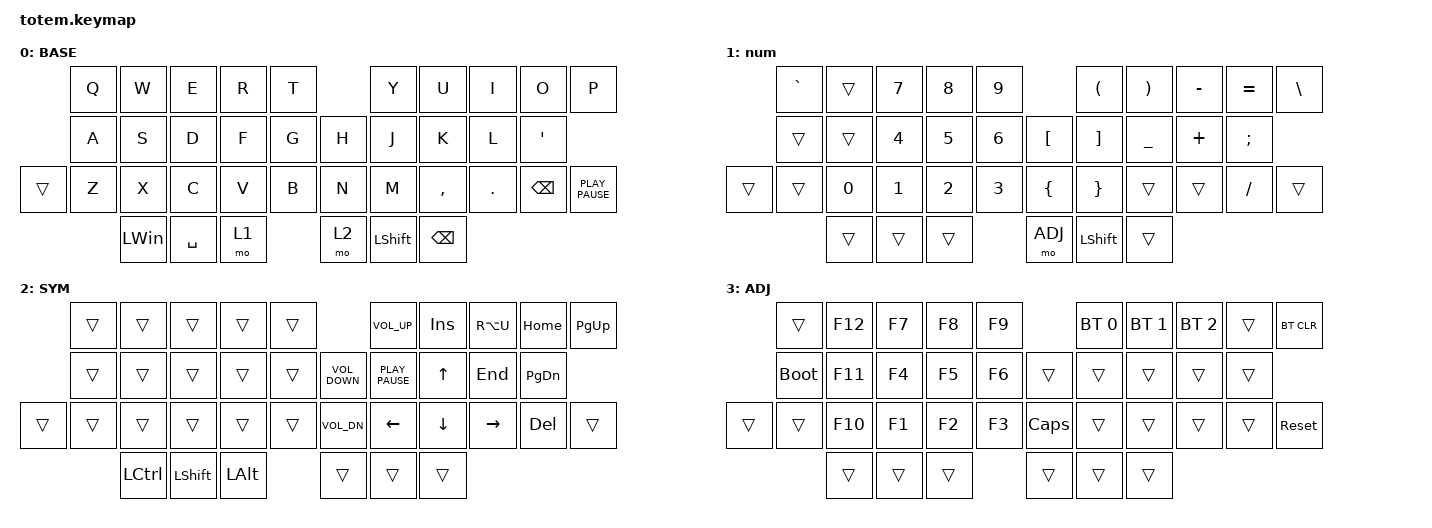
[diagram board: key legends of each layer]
//
//                                                        ▀▀▀▀▀     ▀▀▀▀▀          ▀▀█▀▀
//                                                        ▄▀▀▀▄  ▄  ▄▀▀▀▄  ▄  ▄▀▀▀▄  █  ▄▀▀▀▄
//                                                        █   █  █  █   █  █  █   █  █  █   █
//                                                         ▀▀▀   █   ▀▀▀   █   ▀▀▀   ▀   ▀▀▀
//                                                               █      ▄▄▄█▄▄▄    █   █  
//                                                               ▀      █  █  █     █▄█
//                                                             ▀▀▀▀▀    █  █  █      ▀
//                                                                      ▀  ▀  ▀
//
// ▄▄▄▄▄▄▄▄▄▄▄▄▄▄▄▄▄▄▄▄▄▄▄▄▄▄▄▄▄▄▄▄▄▄▄▄▄▄▄▄▄▄▄▄▄▄▄▄▄▄▄▄▄▄▄▄▄▄▄▄▄▄▄▄▄▄▄▄▄▄▄▄▄▄▄▄▄▄▄▄▄▄▄▄▄▄▄▄▄▄▄▄▄▄▄▄▄▄▄▄▄▄▄▄▄▄▄▄▄▄▄▄▄▄▄▄▄▄▄▄▄▄▄▄▄▄▄▄▄▄▄▄▄▄▄▄▄▄▄▄▄▄▄▄▄▄▄▄▄

#include <behaviors.dtsi>
#include <dt-bindings/zmk/bt.h>
#include <dt-bindings/zmk/keys.h>

#define BASE 0
#define NAV  1
#define SYM  2
#define ADJ  3

&mt {
    quick-tap-ms = <100>;
    global-quick-tap;
    flavor = "tap-preferred";
    tapping-term-ms = <170>;
};

/ {
    combos {
        compatible = "zmk,combos";

        combo_esc {
            timeout-ms = <50>;
            key-positions = <0 1>;
            bindings = <&kp ESC>;
        };

        combo_enter {
            bindings = <&kp ENTER>;
            key-positions = <28 29>;
        };

        combo_osk_tab {
            bindings = <&kp TAB>;
            key-positions = <21 22>;
        };
    };

    macros {
        gif: gif {
            label = "giphy";
            compatible = "zmk,behavior-macro";
            #binding-cells = <0>;
            bindings =
                <&macro_press>,
                <&kp LSHFT>,
                <&macro_tap>,
                <&kp N2>,
                <&macro_release>,
                <&kp LSHFT>,
                <&macro_tap>,
                <&kp G &kp I &kp F>;
        };
    };

    behaviors {
        ctrl_j: ctrl_j {
            compatible = "zmk,behavior-mod-morph";
            label = "CTRL_J";
            bindings = <&kp J>;
            #binding-cells = <0>;
            mods = <(MOD_LCTL)>;
        };
        gui_s: gui_s {
            compatible = "zmk,behavior-mod-morph";
            label = "GUI_S";
            bindings = <&kp S>;
            #binding-cells = <0>;
            mods = <(MOD_LGUI)>;
        };
        ctrl_f: ctrl_f {
            compatible = "zmk,behavior-mod-morph";
            label = "CTRL_F";
            bindings = <&kp F>;
            #binding-cells = <0>;
            mods = <(MOD_LCTL)>;
        };
        alt_d: alt_d {
            compatible = "zmk,behavior-mod-morph";
            label = "ALT_D";
            bindings = <&kp D>;
            #binding-cells = <0>;
            mods = <(MOD_LALT)>;
        };
        alt_k: alt_k {
            compatible = "zmk,behavior-mod-morph";
            label = "ALT_K";
            bindings = <&kp K>;
            #binding-cells = <0>;
            mods = <(MOD_LALT)>;
        };
    };

    keymap {
        compatible = "zmk,keymap";

        // ▄▄▄▄▄▄▄▄▄▄▄▄▄▄▄▄▄▄▄▄▄▄▄▄▄▄▄▄▄▄▄▄▄▄▄▄▄▄▄▄▄▄▄▄▄▄▄▄▄▄▄▄▄▄▄▄▄▄▄▄▄▄▄▄▄▄▄▄▄▄▄▄▄▄▄▄▄▄▄▄▄▄▄▄▄▄▄▄▄▄▄▄▄▄▄▄▄▄▄▄▄▄▄▄▄▄▄▄▄▄▄▄▄▄▄▄▄▄▄▄▄▄▄▄▄▄▄▄▄▄▄▄▄▄▄▄▄▄▄▄▄▄▄▄▄▄▄▄▄

        base_layer {
            // ┏━━━━━━━━━━━━━━━━━━━━━━━━━━━━━━━━━━━━━━━┓

            label = "BASE";

            // ┗━━━━━━━━━━━━━━━━━━━━━━━━━━━━━━━━━━━━━━━┛
            //             ┏━━━━━━━━━━━┳━━━━━━━━━━━┳━━━━━━━━━━━┳━━━━━━━━━━━┳━━━━━━━━━━━┓   ┏━━━━━━━━━━━┳━━━━━━━━━━━┳━━━━━━━━━━━┳━━━━━━━━━━━┳━━━━━━━━━━━┓
            //             ┃     Q     ┃     W     ┃     F     ┃     P     ┃     G     ┃   ┃     J     ┃     L     ┃     U     ┃     Y     ┃     ;     ┃
            //             ┣━━━━━━━━━━━╋━━━━━━━━━━━╋━━━━━━━━━━━╋━━━━━━━━━━━╋━━━━━━━━━━━┫   ┣━━━━━━━━━━━╋━━━━━━━━━━━╋━━━━━━━━━━━╋━━━━━━━━━━━╋━━━━━━━━━━━┫
            //             ┃     A     ┃     R     ┃     S     ┃     T     ┃     D     ┃   ┃     H     ┃     N     ┃     E     ┃     I     ┃     O     ┃
            // ┏━━━━━━━━━━━╋━━━━━━━━━━━╋━━━━━━━━━━━╋━━━━━━━━━━━╋━━━━━━━━━━━╋━━━━━━━━━━━┫   ┣━━━━━━━━━━━╋━━━━━━━━━━━╋━━━━━━━━━━━╋━━━━━━━━━━━╋━━━━━━━━━━━╋━━━━━━━━━━━┓
            // ┃     Q     ┃     Z     ┃     X     ┃     C     ┃     V     ┃     B     ┃   ┃     K     ┃     M     ┃     ,     ┃     .     ┃     /     ┃     \     ┃
            // ┗━━━━━━━━━━━┻━━━━━━━━━━━┻━━━━━━━━━━━╋━━━━━━━━━━━╋━━━━━━━━━━━╋━━━━━━━━━━━┫   ┣━━━━━━━━━━━╋━━━━━━━━━━━╋━━━━━━━━━━━╋━━━━━━━━━━━┻━━━━━━━━━━━┻━━━━━━━━━━━┛
            //                                     ┃    DEL    ┃    TAB    ┃    SPC    ┃   ┃   ENTER   ┃           ┃   BSPC    ┃
            //                                     ┗━━━━━━━━━━━┻━━━━━━━━━━━┻━━━━━━━━━━━┛   ┗━━━━━━━━━━━┻━━━━━━━━━━━┻━━━━━━━━━━━┛

            bindings = <
        &kp Q  &kp W         &kp E      &kp R  &kp T  &kp Y           &kp U          &kp I    &kp O          &kp P
        &kp A  &kp S         &kp D      &kp F  &kp G  &kp H           &kp J          &kp K    &kp L        &kp SQT
&trans  &kp Z  &kp X         &kp C      &kp V  &kp B  &kp N           &kp M      &kp COMMA  &kp DOT  &kp BACKSPACE  &kp K_PLAY_PAUSE
                      &kp LEFT_WIN  &kp SPACE  &mo 1  &mo 2  &kp LEFT_SHIFT  &kp BACKSPACE
            >;
        };

        // ▄▄▄▄▄▄▄▄▄▄▄▄▄▄▄▄▄▄▄▄▄▄▄▄▄▄▄▄▄▄▄▄▄▄▄▄▄▄▄▄▄▄▄▄▄▄▄▄▄▄▄▄▄▄▄▄▄▄▄▄▄▄▄▄▄▄▄▄▄▄▄▄▄▄▄▄▄▄▄▄▄▄▄▄▄▄▄▄▄▄▄▄▄▄▄▄▄▄▄▄▄▄▄▄▄▄▄▄▄▄▄▄▄▄▄▄▄▄▄▄▄▄▄▄▄▄▄▄▄▄▄▄▄▄▄▄▄▄▄▄▄▄▄▄▄▄▄▄▄

        num_layer {
            // ┏━━━━━━━━━━━━━━━━━━━━━━━━━━━━━━━━━━━━━━━┓

            label = "num";

            // ┗━━━━━━━━━━━━━━━━━━━━━━━━━━━━━━━━━━━━━━━┛
            //             ┏━━━━━━━━━━━┳━━━━━━━━━━━┳━━━━━━━━━━━┳━━━━━━━━━━━┳━━━━━━━━━━━┓   ┏━━━━━━━━━━━┳━━━━━━━━━━━┳━━━━━━━━━━━┳━━━━━━━━━━━┳━━━━━━━━━━━┓
            //             ┃           ┃           ┃     UP    ┃           ┃     {     ┃   ┃     }     ┃     7     ┃     8     ┃     9     ┃     +     ┃
            //             ┣━━━━━━━━━━━╋━━━━━━━━━━━╋━━━━━━━━━━━╋━━━━━━━━━━━╋━━━━━━━━━━━┫   ┣━━━━━━━━━━━╋━━━━━━━━━━━╋━━━━━━━━━━━╋━━━━━━━━━━━╋━━━━━━━━━━━┫
            //             ┃   SHIFT   ┃   LEFT    ┃    DOWN   ┃   RIGHT   ┃     [     ┃   ┃     ]     ┃     4     ┃     5     ┃     6     ┃     -     ┃
            // ┏━━━━━━━━━━━╋━━━━━━━━━━━╋━━━━━━━━━━━╋━━━━━━━━━━━╋━━━━━━━━━━━╋━━━━━━━━━━━┫   ┣━━━━━━━━━━━╋━━━━━━━━━━━╋━━━━━━━━━━━╋━━━━━━━━━━━╋━━━━━━━━━━━╋━━━━━━━━━━━┓
            // ┃           ┃           ┃   P UP    ┃  C LOCK   ┃  P DOWN   ┃     (     ┃   ┃     )     ┃     1     ┃     2     ┃     3     ┃     *     ┃           ┃
            // ┗━━━━━━━━━━━┻━━━━━━━━━━━┻━━━━━━━━━━━╋━━━━━━━━━━━╋━━━━━━━━━━━╋━━━━━━━━━━━┫   ┣━━━━━━━━━━━╋━━━━━━━━━━━╋━━━━━━━━━━━╋━━━━━━━━━━━┻━━━━━━━━━━━┻━━━━━━━━━━━┛
            //                                     ┃           ┃    TAB    ┃    SPC    ┃   ┃    DEL    ┃     0     ┃           ┃
            //                                     ┗━━━━━━━━━━━┻━━━━━━━━━━━┻━━━━━━━━━━━┛   ┗━━━━━━━━━━━┻━━━━━━━━━━━┻━━━━━━━━━━━┛

            bindings = <
        &kp GRAVE  &trans  &kp N7  &kp N8  &kp N9  &kp LEFT_PARENTHESIS  &kp RIGHT_PARENTHESIS       &kp MINUS  &kp EQUAL   &kp BSLH
           &trans  &trans  &kp N4  &kp N5  &kp N6              &kp LBKT      &kp RIGHT_BRACKET  &kp UNDERSCORE   &kp PLUS   &kp SEMI
&trans     &trans  &kp N0  &kp N1  &kp N2  &kp N3        &kp LEFT_BRACE        &kp RIGHT_BRACE          &trans     &trans  &kp SLASH  &trans
                           &trans  &trans  &trans               &mo ADJ         &kp LEFT_SHIFT          &trans
            >;
        };

        // ▄▄▄▄▄▄▄▄▄▄▄▄▄▄▄▄▄▄▄▄▄▄▄▄▄▄▄▄▄▄▄▄▄▄▄▄▄▄▄▄▄▄▄▄▄▄▄▄▄▄▄▄▄▄▄▄▄▄▄▄▄▄▄▄▄▄▄▄▄▄▄▄▄▄▄▄▄▄▄▄▄▄▄▄▄▄▄▄▄▄▄▄▄▄▄▄▄▄▄▄▄▄▄▄▄▄▄▄▄▄▄▄▄▄▄▄▄▄▄▄▄▄▄▄▄▄▄▄▄▄▄▄▄▄▄▄▄▄▄▄▄▄▄▄▄▄▄▄▄

        sim_layer {
            // ┏━━━━━━━━━━━━━━━━━━━━━━━━━━━━━━━━━━━━━━━┓

            label = "SYM";

            // ┗━━━━━━━━━━━━━━━━━━━━━━━━━━━━━━━━━━━━━━━┛
            //             ┏━━━━━━━━━━━┳━━━━━━━━━━━┳━━━━━━━━━━━┳━━━━━━━━━━━┳━━━━━━━━━━━┓   ┏━━━━━━━━━━━┳━━━━━━━━━━━┳━━━━━━━━━━━┳━━━━━━━━━━━┳━━━━━━━━━━━┓
            //             ┃     !     ┃     @     ┃     #     ┃     $     ┃     %     ┃   ┃     ˆ     ┃     &     ┃     Ü     ┃     '     ┃     "     ┃
            //             ┣━━━━━━━━━━━╋━━━━━━━━━━━╋━━━━━━━━━━━╋━━━━━━━━━━━╋━━━━━━━━━━━┫   ┣━━━━━━━━━━━╋━━━━━━━━━━━╋━━━━━━━━━━━╋━━━━━━━━━━━╋━━━━━━━━━━━┫
            //             ┃     Ä     ┃           ┃    SZ     ┃           ┃           ┃   ┃   MUTE    ┃   YEN     ┃   EURO    ┃  POUND    ┃     Ö     ┃
            // ┏━━━━━━━━━━━╋━━━━━━━━━━━╋━━━━━━━━━━━╋━━━━━━━━━━━╋━━━━━━━━━━━╋━━━━━━━━━━━┫   ┣━━━━━━━━━━━╋━━━━━━━━━━━╋━━━━━━━━━━━╋━━━━━━━━━━━╋━━━━━━━━━━━╋━━━━━━━━━━━┓
            // ┃           ┃  EMAIL1   ┃  EMAIL2   ┃           ┃           ┃           ┃   ┃   VOL-    ┃   VOL+    ┃   LAST    ┃   NEXT    ┃     \     ┃           ┃
            // ┗━━━━━━━━━━━┻━━━━━━━━━━━┻━━━━━━━━━━━╋━━━━━━━━━━━╋━━━━━━━━━━━╋━━━━━━━━━━━┫   ┣━━━━━━━━━━━╋━━━━━━━━━━━╋━━━━━━━━━━━╋━━━━━━━━━━━┻━━━━━━━━━━━┻━━━━━━━━━━━┛
            //                                     ┃           ┃    GIF    ┃    ADJ    ┃   ┃           ┃           ┃           ┃
            //                                     ┗━━━━━━━━━━━┻━━━━━━━━━━━┻━━━━━━━━━━━┛   ┗━━━━━━━━━━━┻━━━━━━━━━━━┻━━━━━━━━━━━┛

            bindings = <
        &trans  &trans     &trans          &trans        &trans    &kp C_VOLUME_UP        &kp INSERT     &kp RA(U)   &kp HOME      &kp PG_UP
        &trans  &trans     &trans          &trans        &trans  &kp C_VOLUME_DOWN  &kp K_PLAY_PAUSE  &kp UP_ARROW    &kp END  &kp PAGE_DOWN
&trans  &trans  &trans     &trans          &trans        &trans       &kp C_VOL_DN    &kp LEFT_ARROW      &kp DOWN  &kp RIGHT     &kp DELETE  &trans
                        &kp LCTRL  &kp LEFT_SHIFT  &kp LEFT_ALT             &trans            &trans        &trans
            >;
        };

        // ▄▄▄▄▄▄▄▄▄▄▄▄▄▄▄▄▄▄▄▄▄▄▄▄▄▄▄▄▄▄▄▄▄▄▄▄▄▄▄▄▄▄▄▄▄▄▄▄▄▄▄▄▄▄▄▄▄▄▄▄▄▄▄▄▄▄▄▄▄▄▄▄▄▄▄▄▄▄▄▄▄▄▄▄▄▄▄▄▄▄▄▄▄▄▄▄▄▄▄▄▄▄▄▄▄▄▄▄▄▄▄▄▄▄▄▄▄▄▄▄▄▄▄▄▄▄▄▄▄▄▄▄▄▄▄▄▄▄▄▄▄▄▄▄▄▄▄▄▄

        adjust_layer {
            // ┏━━━━━━━━━━━━━━━━━━━━━━━━━━━━━━━━━━━━━━━┓

            label = "ADJ";

            // ┗━━━━━━━━━━━━━━━━━━━━━━━━━━━━━━━━━━━━━━━┛
            //             ┏━━━━━━━━━━━┳━━━━━━━━━━━┳━━━━━━━━━━━┳━━━━━━━━━━━┳━━━━━━━━━━━┓   ┏━━━━━━━━━━━┳━━━━━━━━━━━┳━━━━━━━━━━━┳━━━━━━━━━━━┳━━━━━━━━━━━┓
            //             ┃   RESET   ┃ BT CLEAR  ┃  OUT TOG  ┃           ┃           ┃   ┃           ┃    F7     ┃    F8     ┃    F9     ┃    F12    ┃
            //             ┣━━━━━━━━━━━╋━━━━━━━━━━━╋━━━━━━━━━━━╋━━━━━━━━━━━╋━━━━━━━━━━━┫   ┣━━━━━━━━━━━╋━━━━━━━━━━━╋━━━━━━━━━━━╋━━━━━━━━━━━╋━━━━━━━━━━━┫
            //             ┃ BOOTLOAD  ┃ BT NEXT   ┃           ┃           ┃           ┃   ┃           ┃    F4     ┃    F5     ┃    F6     ┃    F11    ┃
            // ┏━━━━━━━━━━━╋━━━━━━━━━━━╋━━━━━━━━━━━╋━━━━━━━━━━━╋━━━━━━━━━━━╋━━━━━━━━━━━┫   ┣━━━━━━━━━━━╋━━━━━━━━━━━╋━━━━━━━━━━━╋━━━━━━━━━━━╋━━━━━━━━━━━╋━━━━━━━━━━━┓
            // ┃           ┃           ┃ BT PREV   ┃           ┃           ┃           ┃   ┃           ┃    F1     ┃    F2     ┃    F3     ┃    F10    ┃           ┃
            // ┗━━━━━━━━━━━┻━━━━━━━━━━━┻━━━━━━━━━━━╋━━━━━━━━━━━╋━━━━━━━━━━━╋━━━━━━━━━━━┫   ┣━━━━━━━━━━━╋━━━━━━━━━━━╋━━━━━━━━━━━╋━━━━━━━━━━━┻━━━━━━━━━━━┻━━━━━━━━━━━┛
            //                                     ┃           ┃           ┃           ┃   ┃           ┃           ┃           ┃
            //                                     ┗━━━━━━━━━━━┻━━━━━━━━━━━┻━━━━━━━━━━━┛   ┗━━━━━━━━━━━┻━━━━━━━━━━━┻━━━━━━━━━━━┛

            bindings = <
             &trans  &kp F12  &kp F7  &kp F8  &kp F9  &bt BT_SEL 0  &bt BT_SEL 1  &bt BT_SEL 2  &trans  &bt BT_CLR
        &bootloader  &kp F11  &kp F4  &kp F5  &kp F6        &trans        &trans        &trans  &trans      &trans
&trans       &trans  &kp F10  &kp F1  &kp F2  &kp F3  &kp CAPSLOCK        &trans        &trans  &trans      &trans  &sys_reset
                              &trans  &trans  &trans        &trans        &trans        &trans
            >;
        };
    };
};
